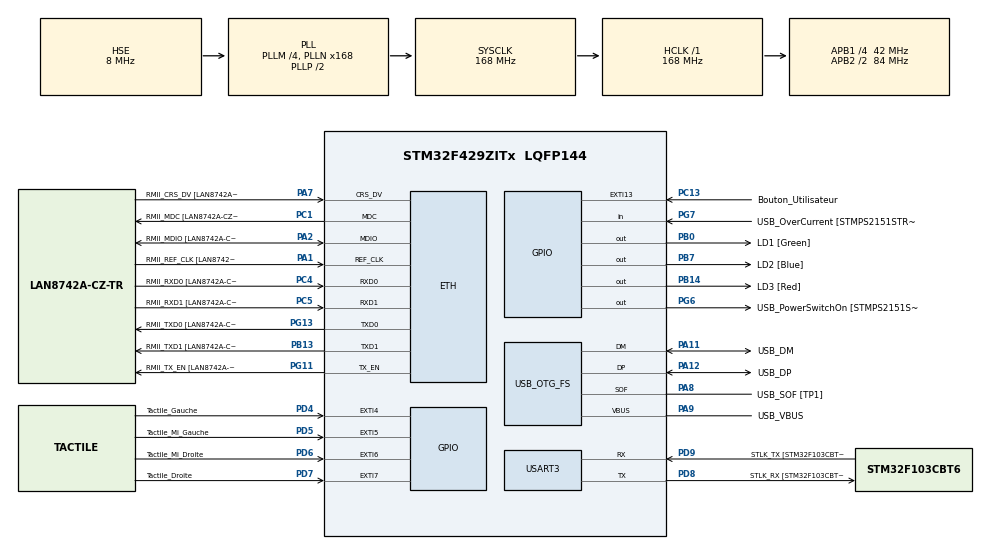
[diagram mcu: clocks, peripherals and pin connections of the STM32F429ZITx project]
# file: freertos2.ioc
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ETH.MediaInterface=ETH_MEDIA_INTERFACE_RMII
ETH.PHY_Name=LAN8742A_PHY_ADDRESS
ETH.PHY_Value=0
ETH.PhyAddress=0
FREERTOS.Tasks01=ClignotementLed,0,128,ClignotementLedTask,Default,NULL,Dynamic,NULL,NULL;SuspendLedTask,2,128,SuspendTask,Default,NULL,Dynamic,NULL,NULL;GestionConpteur,2,128,CompteurLed,Default,NULL,Dynamic,NULL,NULL
Mcu.Family=STM32F4
Mcu.Name=STM32F429ZITx
Mcu.Package=LQFP144
NVIC.EXTI15_10_IRQn=true\:5\:0\:false\:false\:true\:true\:true\:true
NVIC.EXTI4_IRQn=true\:5\:0\:true\:false\:true\:false\:true\:true
NVIC.EXTI9_5_IRQn=true\:5\:0\:true\:false\:true\:false\:true\:true
NVIC.PriorityGroup=NVIC_PRIORITYGROUP_4
NVIC.TIM8_UP_TIM13_IRQn=true\:0\:0\:false\:false\:true\:false\:false\:true
NVIC.TimeBase=TIM8_UP_TIM13_IRQn
NVIC.TimeBaseIP=TIM8
PA1.GPIO_Label=RMII_REF_CLK [LAN8742A-CZ-TR_REFCLK0]
PA1.Mode=RMII
PA1.Signal=ETH_REF_CLK
PA10.GPIO_Label=USB_ID
PA10.Signal=USB_OTG_FS_ID
PA11.GPIO_Label=USB_DM
PA11.Mode=Device_Only
PA11.Signal=USB_OTG_FS_DM
PA12.GPIO_Label=USB_DP
PA12.Mode=Device_Only
PA12.Signal=USB_OTG_FS_DP
PA13.GPIO_Label=TMS
PA13.Mode=Serial_Wire
PA13.Signal=SYS_JTMS-SWDIO
PA14.GPIO_Label=TCK
PA14.Mode=Serial_Wire
PA14.Signal=SYS_JTCK-SWCLK
PA2.GPIO_Label=RMII_MDIO [LAN8742A-CZ-TR_MDIO]
PA2.Mode=RMII
PA2.Signal=ETH_MDIO
PA7.GPIO_Label=RMII_CRS_DV [LAN8742A-CZ-TR_CRS_DV]
PA7.Mode=RMII
PA7.Signal=ETH_CRS_DV
PA8.GPIO_Label=USB_SOF [TP1]
PA8.Mode=Activate_SOF_FS
PA8.Signal=USB_OTG_FS_SOF
PA9.GPIO_Label=USB_VBUS
PA9.Mode=Activate_VBUS
PA9.Signal=USB_OTG_FS_VBUS
PB0.GPIO_Label=LD1 [Green]
PB0.Signal=GPIO_Output
PB13.GPIO_Label=RMII_TXD1 [LAN8742A-CZ-TR_TXD1]
PB13.Mode=RMII
PB13.Signal=ETH_TXD1
PB14.GPIO_Label=LD3 [Red]
PB14.Signal=GPIO_Output
PB7.GPIO_Label=LD2 [Blue]
PB7.Signal=GPIO_Output
PC1.GPIO_Label=RMII_MDC [LAN8742A-CZ-TR_MDC]
PC1.Mode=RMII
PC1.Signal=ETH_MDC
PC13.GPIO_Label=Bouton_Utilisateur
PC13.GPIO_ModeDefaultEXTI=GPIO_MODE_IT_RISING
PC13.Signal=GPXTI13
PC14/OSC32_IN.Mode=LSE-External-Oscillator
PC14/OSC32_IN.Signal=RCC_OSC32_IN
PC15/OSC32_OUT.Mode=LSE-External-Oscillator
PC15/OSC32_OUT.Signal=RCC_OSC32_OUT
PC4.GPIO_Label=RMII_RXD0 [LAN8742A-CZ-TR_RXD0]
PC4.Mode=RMII
PC4.Signal=ETH_RXD0
PC5.GPIO_Label=RMII_RXD1 [LAN8742A-CZ-TR_RXD1]
PC5.Mode=RMII
PC5.Signal=ETH_RXD1
PD4.GPIO_Label=Tactile_Gauche
PD4.Signal=GPXTI4
PD5.GPIO_Label=Tactile_Mi_Gauche
PD5.Signal=GPXTI5
PD6.GPIO_Label=Tactile_Mi_Droite
PD6.Signal=GPXTI6
PD7.GPIO_Label=Tactile_Droite
PD7.Signal=GPXTI7
PD8.GPIO_Label=STLK_RX [STM32F103CBT6_PA3]
PD8.Mode=Asynchronous
PD8.Signal=USART3_TX
PD9.GPIO_Label=STLK_TX [STM32F103CBT6_PA2]
PD9.Mode=Asynchronous
PD9.Signal=USART3_RX
PG11.GPIO_Label=RMII_TX_EN [LAN8742A-CZ-TR_TXEN]
PG11.Mode=RMII
PG11.Signal=ETH_TX_EN
PG13.GPIO_Label=RMII_TXD0 [LAN8742A-CZ-TR_TXD0]
PG13.Mode=RMII
PG13.Signal=ETH_TXD0
PG6.GPIO_Label=USB_PowerSwitchOn [STMPS2151STR_EN]
PG6.Signal=GPIO_Output
PG7.GPIO_Label=USB_OverCurrent [STMPS2151STR_FAULT]
PG7.Signal=GPIO_Input
PH0/OSC_IN.GPIO_Label=MCO [STM32F103CBT6_PA8]
PH0/OSC_IN.Mode=HSE-External-Clock-Source
PH0/OSC_IN.Signal=RCC_OSC_IN
PH1/OSC_OUT.Mode=HSE-External-Clock-Source
PH1/OSC_OUT.Signal=RCC_OSC_OUT
ProjectManager.HeapSize=0x200
ProjectManager.StackSize=0x400
ProjectManager.TargetToolchain=TrueSTUDIO
RCC.48MHZClocksFreq_Value=48000000
RCC.AHBFreq_Value=168000000
RCC.APB1CLKDivider=RCC_HCLK_DIV4
RCC.APB1Freq_Value=42000000
RCC.APB1TimFreq_Value=84000000
RCC.APB2CLKDivider=RCC_HCLK_DIV2
RCC.APB2Freq_Value=84000000
RCC.APB2TimCLKDivider=2
RCC.APB2TimFreq_Value=168000000
RCC.CortexFreq_Value=168000000
RCC.HCLKFreq_Value=168000000
RCC.HSE_VALUE=8000000
RCC.HSI_VALUE=16000000
RCC.PLLM=4
RCC.PLLMUL=RCC_PLL_MUL9
RCC.PLLN=168
RCC.PLLQ=7
RCC.PRESCALERUSB=RCC_USBCLKSOURCE_PLL_DIV1_5
RCC.SYSCLKFreq_VALUE=168000000
RCC.SYSCLKSource=RCC_SYSCLKSOURCE_PLLCLK
RCC.SYSCLKSourceVirtual=RCC_SYSCLKSOURCE_PLLCLK
RCC.USBFreq_Value=48000000
RCC.VCOOutputFreq_Value=336000000
USART3.VirtualMode=VM_ASYNC
USB_OTG_FS.VirtualMode=Device_Only
VP_FREERTOS_VS_CMSIS_V1.Mode=CMSIS_V1
VP_SYS_VS_tim8.Mode=TIM8
board=NUCLEO-F429ZI

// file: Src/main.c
/* USER CODE BEGIN Header */
/**
  ******************************************************************************
  * @file           : main.c
  * @brief          : Main program body
  ******************************************************************************
  * @attention
  *
  * <h2><center>&copy; Copyright (c) 2019 STMicroelectronics.
  * All rights reserved.</center></h2>
  *
  * This software component is licensed by ST under Ultimate Liberty license
  * SLA0044, the "License"; You may not use this file except in compliance with
  * the License. You may obtain a copy of the License at:
  *                             www.st.com/SLA0044
  *
  ******************************************************************************
  */
/* USER CODE END Header */

#include "main.h"
#include "cmsis_os.h"
#include "eth.h"
#include "usart.h"
#include "usb_otg.h"
#include "gpio.h"

void SystemClock_Config(void);
void MX_FREERTOS_Init(void);

/* USER CODE BEGIN 0 */
void HAL_GPIO_EXTI_Callback(uint16_t clavier)
{
  /* Prevent unused argument(s) compilation warning */
	switch(clavier)
	{
		case Tactile_Gauche_Pin:
		{
			appui_tactile = TOUCHE_GAUCHE;
			break;
		}
		case Tactile_Mi_Gauche_Pin:
		{
			appui_tactile = TOUCHE_MI_GAUCHE;
			break;
		}
		case Tactile_Mi_Droite_Pin:
		{
			appui_tactile = TOUCHE_MI_DROITE;
			break;
		}
		case Tactile_Droite_Pin:
		{
			appui_tactile = TOUCHE_DROITE;
			break;
		}
		case Bouton_Utilisateur_Pin:
		{
			appui_btn_led = APPUI_BOUTON;
			break;
		}
		default:
		{
			break;
		}

	}
  /* NOTE: This function Should not be modified, when the callback is needed,
           the HAL_GPIO_EXTI_Callback could be implemented in the user file
   */
}
/* USER CODE END 0 */

int main(void)
{
  /* USER CODE BEGIN 1 */
	appui_btn_led = 0;
	appui_tactile = 0;
	cpt_attente = 0;
	suspend = 0;
  /* USER CODE END 1 */

  /* MCU Configuration--------------------------------------------------------*/

  /* Reset of all peripherals, Initializes the Flash interface and the Systick. */
  HAL_Init();

  /* Configure the system clock */
  SystemClock_Config();

  /* Initialize all configured peripherals */
  MX_GPIO_Init();
  MX_ETH_Init();
  MX_USART3_UART_Init();
  MX_USB_OTG_FS_PCD_Init();

  /* Call init function for freertos objects (in freertos.c) */
  MX_FREERTOS_Init();

  /* Start scheduler */
  osKernelStart();

  /* We should never get here as control is now taken by the scheduler */

  /* Infinite loop */
  while (1)
  {

  }
}

void SystemClock_Config(void)
{
  RCC_OscInitTypeDef RCC_OscInitStruct = {0};
  RCC_ClkInitTypeDef RCC_ClkInitStruct = {0};

  /** Configure the main internal regulator output voltage
  */
  __HAL_RCC_PWR_CLK_ENABLE();
  __HAL_PWR_VOLTAGESCALING_CONFIG(PWR_REGULATOR_VOLTAGE_SCALE1);
  /** Initializes the CPU, AHB and APB busses clocks
  */
  RCC_OscInitStruct.OscillatorType = RCC_OSCILLATORTYPE_HSE;
  RCC_OscInitStruct.HSEState = RCC_HSE_BYPASS;
  RCC_OscInitStruct.PLL.PLLState = RCC_PLL_ON;
  RCC_OscInitStruct.PLL.PLLSource = RCC_PLLSOURCE_HSE;
  RCC_OscInitStruct.PLL.PLLM = 4;
  RCC_OscInitStruct.PLL.PLLN = 168;
  RCC_OscInitStruct.PLL.PLLP = RCC_PLLP_DIV2;
  RCC_OscInitStruct.PLL.PLLQ = 7;
  if (HAL_RCC_OscConfig(&RCC_OscInitStruct) != HAL_OK)
  {
    Error_Handler();
  }
  /** Initializes the CPU, AHB and APB busses clocks
  */
  RCC_ClkInitStruct.ClockType = RCC_CLOCKTYPE_HCLK|RCC_CLOCKTYPE_SYSCLK
                              |RCC_CLOCKTYPE_PCLK1|RCC_CLOCKTYPE_PCLK2;
  RCC_ClkInitStruct.SYSCLKSource = RCC_SYSCLKSOURCE_PLLCLK;
  RCC_ClkInitStruct.AHBCLKDivider = RCC_SYSCLK_DIV1;
  RCC_ClkInitStruct.APB1CLKDivider = RCC_HCLK_DIV4;
  RCC_ClkInitStruct.APB2CLKDivider = RCC_HCLK_DIV2;

  if (HAL_RCC_ClockConfig(&RCC_ClkInitStruct, FLASH_LATENCY_5) != HAL_OK)
  {
    Error_Handler();
  }
}

void HAL_TIM_PeriodElapsedCallback(TIM_HandleTypeDef *htim)
{
  if (htim->Instance == TIM8) {
    HAL_IncTick();
  }
}

void Error_Handler(void)
{
}

/************************ (C) COPYRIGHT STMicroelectronics *****END OF FILE****/

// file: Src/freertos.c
/* USER CODE BEGIN Header */
/**
  ******************************************************************************
  * File Name          : freertos.c
  * Description        : Code for freertos applications
  ******************************************************************************
  * @attention
  *
  * <h2><center>&copy; Copyright (c) 2019 STMicroelectronics.
  * All rights reserved.</center></h2>
  *
  * This software component is licensed by ST under Ultimate Liberty license
  * SLA0044, the "License"; You may not use this file except in compliance with
  * the License. You may obtain a copy of the License at:
  *                             www.st.com/SLA0044
  *
  ******************************************************************************
  */
/* USER CODE END Header */

#include "FreeRTOS.h"
#include "task.h"
#include "main.h"
#include "cmsis_os.h"

osThreadId ClignotementLedHandle;
osThreadId SuspendLedTaskHandle;
osThreadId GestionConpteurHandle;

void ClignotementLedTask(void const * argument);
void SuspendTask(void const * argument);
void CompteurLed(void const * argument);

void MX_FREERTOS_Init(void); /* (MISRA C 2004 rule 8.1) */

/* GetIdleTaskMemory prototype (linked to static allocation support) */
void vApplicationGetIdleTaskMemory( StaticTask_t **ppxIdleTaskTCBBuffer, StackType_t **ppxIdleTaskStackBuffer, uint32_t *pulIdleTaskStackSize );

/* USER CODE BEGIN GET_IDLE_TASK_MEMORY */
static StaticTask_t xIdleTaskTCBBuffer;
static StackType_t xIdleStack[configMINIMAL_STACK_SIZE];

void vApplicationGetIdleTaskMemory( StaticTask_t **ppxIdleTaskTCBBuffer, StackType_t **ppxIdleTaskStackBuffer, uint32_t *pulIdleTaskStackSize )
{
  *ppxIdleTaskTCBBuffer = &xIdleTaskTCBBuffer;
  *ppxIdleTaskStackBuffer = &xIdleStack[0];
  *pulIdleTaskStackSize = configMINIMAL_STACK_SIZE;
  /* place for user code */
}
/* USER CODE END GET_IDLE_TASK_MEMORY */

void MX_FREERTOS_Init(void) {

  /* Create the thread(s) */
  /* definition and creation of ClignotementLed */
  osThreadDef(ClignotementLed, ClignotementLedTask, osPriorityNormal, 0, 128);
  ClignotementLedHandle = osThreadCreate(osThread(ClignotementLed), NULL);

  /* definition and creation of SuspendLedTask */
  osThreadDef(SuspendLedTask, SuspendTask, osPriorityHigh, 0, 128);
  SuspendLedTaskHandle = osThreadCreate(osThread(SuspendLedTask), NULL);

  /* definition and creation of GestionConpteur */
  osThreadDef(GestionConpteur, CompteurLed, osPriorityHigh, 0, 128);
  GestionConpteurHandle = osThreadCreate(osThread(GestionConpteur), NULL);

}

void ClignotementLedTask(void const * argument)
{

  /* USER CODE BEGIN ClignotementLedTask */
  /* Infinite loop */
  for(;;)
  {
	  HAL_GPIO_WritePin(LD3_GPIO_Port, LD1_Pin, 1);
	  HAL_GPIO_WritePin(LD2_GPIO_Port, LD2_Pin, 1);
	  HAL_GPIO_WritePin(LD2_GPIO_Port, LD3_Pin, 1);
	  for(int i=0; i<cpt_led; i++)
	  {
		  HAL_GPIO_WritePin(LD3_GPIO_Port, LD1_Pin, 1);
		  HAL_GPIO_WritePin(LD2_GPIO_Port, LD2_Pin, 1);
		  HAL_GPIO_WritePin(LD2_GPIO_Port, LD3_Pin, 1);
		  osDelay(250);
		  HAL_GPIO_WritePin(LD3_GPIO_Port, LD1_Pin, 0);
		  HAL_GPIO_WritePin(LD3_GPIO_Port, LD2_Pin, 0);
		  HAL_GPIO_WritePin(LD3_GPIO_Port, LD3_Pin, 0);
		  osDelay(250);
	  }
	  osDelay(1000);
  }
  /* USER CODE END ClignotementLedTask */
}

void SuspendTask(void const * argument)
{
  /* USER CODE BEGIN SuspendTask */
  /* Infinite loop */
  for(;;)
  {
	  if(appui_tactile == TOUCHE_MI_GAUCHE)
	  {
		  osThreadSuspend(ClignotementLedHandle);
		  HAL_GPIO_WritePin(LD1_GPIO_Port, LD1_Pin, 1);
		  HAL_GPIO_WritePin(LD2_GPIO_Port, LD2_Pin, 1);
		  HAL_GPIO_WritePin(LD3_GPIO_Port, LD3_Pin, 1);
	  }
	  if(appui_tactile == TOUCHE_MI_DROITE)
	  {
		  osThreadResume(ClignotementLedHandle);
	  }
    osDelay(1);
  }
  /* USER CODE END SuspendTask */
}

void CompteurLed(void const * argument)
{
  /* USER CODE BEGIN CompteurLed */
  /* Infinite loop */
  for(;;)
  {
	  if(appui_btn_led == 1 || appui_tactile == TOUCHE_DROITE)
	  {
		  cpt_led ++;
		  HAL_Delay(TEMPS_REBOND_BOUTON);
		  appui_btn_led = 0;
		  appui_tactile = 0;
	  }
	  if(appui_tactile == TOUCHE_GAUCHE)
	  {
		  cpt_led = 0;
		  appui_tactile = 0;
	  }
      osDelay(1);
  }
  /* USER CODE END CompteurLed */
}

/************************ (C) COPYRIGHT STMicroelectronics *****END OF FILE****/
